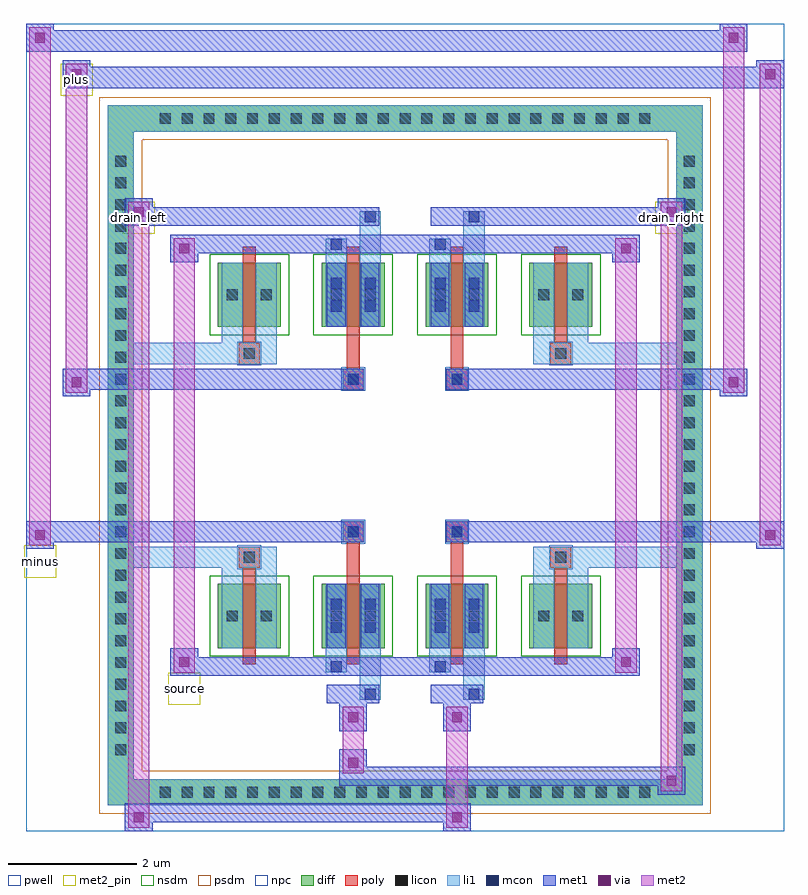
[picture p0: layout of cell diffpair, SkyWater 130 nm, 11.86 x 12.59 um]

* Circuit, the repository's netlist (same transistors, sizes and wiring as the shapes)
* NGSPICE file created from diffpair.ext - technology: sky130A

.subckt diffpair minus drain_right drain_left source plus
X0 drain_right minus source a_n928_n1092# sky130_fd_pr__nfet_01v8 ad=0.39 pd=2.78 as=0.39 ps=2.78 w=1 l=0.2
X1 a_n928_n1092# a_n928_n1092# a_n928_n1092# a_n928_n1092# sky130_fd_pr__nfet_01v8 ad=0.39 pd=2.78 as=3.12 ps=22.24 w=1 l=0.2
X2 a_n928_n1092# a_n928_n1092# a_n928_n1092# a_n928_n1092# sky130_fd_pr__nfet_01v8 ad=0.39 pd=2.78 as=0 ps=0 w=1 l=0.2
X3 a_n928_n1092# a_n928_n1092# a_n928_n1092# a_n928_n1092# sky130_fd_pr__nfet_01v8 ad=0.39 pd=2.78 as=0 ps=0 w=1 l=0.2
X4 a_n928_n1092# a_n928_n1092# a_n928_n1092# a_n928_n1092# sky130_fd_pr__nfet_01v8 ad=0.39 pd=2.78 as=0 ps=0 w=1 l=0.2
X5 drain_left plus source a_n928_n1092# sky130_fd_pr__nfet_01v8 ad=0.39 pd=2.78 as=0.39 ps=2.78 w=1 l=0.2
X6 drain_right minus source a_n928_n1092# sky130_fd_pr__nfet_01v8 ad=0.39 pd=2.78 as=0.39 ps=2.78 w=1 l=0.2
X7 drain_left plus source a_n928_n1092# sky130_fd_pr__nfet_01v8 ad=0.39 pd=2.78 as=0.39 ps=2.78 w=1 l=0.2
.ends

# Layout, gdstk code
import gdstk
lib = gdstk.Library(unit=1e-6, precision=5e-09)
def R(c, l, rs):  # rectangles x0, y0, x1, y1
    for r in rs: c.add(gdstk.rectangle(r[:2], r[2:], *l))
def A(c, l, x, y, w, h, nx, ny, dx, dy):  # array of equal rectangles
    R(c, l, [(x+i*dx, y+j*dy, x+i*dx+w, y+j*dy+h) for i in range(nx) for j in range(ny)])
def P(c, l, *ps):  # polygons
    for p in ps: c.add(gdstk.Polygon(p, *l))
pwell = (64, 44)
diff = (65, 20)
poly = (66, 20)
licon = (66, 44)
li1 = (67, 20)
mcon = (67, 44)
met1 = (68, 20)
via = (68, 44)
met2_pin = (69, 16)
met2 = (69, 20)
nsdm = (93, 44)
psdm = (94, 20)
npc = (95, 20)

diffpair = lib.new_cell('diffpair')
R(diffpair, pwell, [(-5.91,-5.86,5.91,6.73), (-3.23,-4.05,-0.01,-0.825), (0.01,-4.05,3.23,-0.825), (-3.23,0.825,-0.01,4.05), (0.01,0.825,3.23,4.05)])
A(diffpair, diff, -3.945, -5.46, 0.41, 0.41, 23, 2, 0.34, 10.51)
A(diffpair, diff, -4.64, -4.795, 0.41, 0.41, 1, 28, 0, 0.34)
A(diffpair, diff, 4.23, -4.795, 0.41, 0.41, 1, 28, 0, 0.34)
A(diffpair, diff, -2.92, -3.005, 0.98, 1, 4, 2, 1.62, 5.01)
R(diffpair, diff, [(-3.945,-5.46,3.945,-5.05), (-4.64,-4.795,-4.23,4.795), (4.23,-4.795,4.64,4.795), (-3.945,5.05,3.945,5.46)])
P(diffpair, diff, [(4.64,5.46),(-4.64,5.46),(-4.64,-5.05),(-4.23,-5.05),(-4.23,5.05),(4.23,5.05),(4.23,-5.05),(-4.23,-5.05),(-4.64,-5.05),(-4.64,-5.46),(4.64,-5.46)])
A(diffpair, poly, -2.53, -3.255, 0.2, 1.5, 4, 2, 1.62, 5.01)
R(diffpair, poly, [(-2.595,-1.755,-2.265,-1.425), (-2.595,-1.755,-2.265,-1.425), (-0.91,-1.755,-0.71,-1.355), (0.71,-1.755,0.91,-1.355), (2.265,-1.755,2.595,-1.425), (2.265,-1.755,2.595,-1.425), (-0.975,-1.355,-0.645,-1.025), (-0.975,-1.355,-0.645,-1.025), (0.645,-1.355,0.975,-1.025), (0.645,-1.355,0.975,-1.025), (-0.975,1.025,-0.645,1.355), (-0.975,1.025,-0.645,1.355), (0.645,1.025,0.975,1.355), (0.645,1.025,0.975,1.355), (-0.91,1.355,-0.71,1.755), (0.71,1.355,0.91,1.755), (-2.595,1.425,-2.265,1.755), (-2.595,1.425,-2.265,1.755), (2.265,1.425,2.595,1.755), (2.265,1.425,2.595,1.755)])
A(diffpair, licon, -3.825, -5.34, 0.17, 0.17, 23, 2, 0.34, 10.51)
A(diffpair, licon, -4.52, -4.675, 0.17, 0.17, 1, 28, 0, 0.34)
A(diffpair, licon, 4.35, -4.675, 0.17, 0.17, 1, 28, 0, 0.34)
R(diffpair, licon, [(-2.78,-2.59,-2.61,-2.42), (-2.25,-2.59,-2.08,-2.42), (-1.16,-2.59,-0.99,-2.42), (-0.63,-2.59,-0.46,-2.42), (0.46,-2.59,0.63,-2.42), (0.99,-2.59,1.16,-2.42), (2.08,-2.59,2.25,-2.42), (2.61,-2.59,2.78,-2.42), (-2.515,-1.675,-2.345,-1.505), (2.345,-1.675,2.515,-1.505), (-0.895,-1.275,-0.725,-1.105), (0.725,-1.275,0.895,-1.105), (-0.895,1.105,-0.725,1.275), (0.725,1.105,0.895,1.275), (-2.515,1.505,-2.345,1.675), (2.345,1.505,2.515,1.675), (-2.78,2.42,-2.61,2.59), (-2.25,2.42,-2.08,2.59), (-1.16,2.42,-0.99,2.59), (-0.63,2.42,-0.46,2.59), (0.46,2.42,0.63,2.59), (0.99,2.42,1.16,2.59), (2.08,2.42,2.25,2.59), (2.61,2.42,2.78,2.59)])
A(diffpair, li1, -3.905, -5.42, 0.33, 0.33, 23, 2, 0.34, 10.51)
A(diffpair, li1, -4.6, -4.755, 0.33, 0.33, 1, 28, 0, 0.34)
A(diffpair, li1, 4.27, -4.755, 0.33, 0.33, 1, 28, 0, 0.34)
R(diffpair, li1, [(-4.64,-5.46,-4.23,-5.05), (-4.64,-5.46,-4.23,-5.05), (-4.23,-5.46,4.23,-5.05), (4.23,-5.46,4.64,-5.05), (4.23,-5.46,4.64,-5.05), (-4.64,-5.05,-4.23,5.05), (4.23,-5.05,4.64,5.05), (-0.71,-3.81,-0.38,-3.005), (-0.63,-3.81,-0.46,-3.64), (0.91,-3.81,1.24,-3.005), (0.99,-3.81,1.16,-3.64), (-1.24,-3.38,-0.91,-3.005), (-1.16,-3.38,-0.99,-3.21), (0.38,-3.38,0.71,-3.005), (0.46,-3.38,0.63,-3.21), (-2.86,-3.005,-2.53,-2.005), (-2.33,-3.005,-2,-2.005), (-1.24,-3.005,-0.91,-2.005), (-0.71,-3.005,-0.38,-2.005), (0.38,-3.005,0.71,-2.005), (0.91,-3.005,1.24,-2.005), (2,-3.005,2.33,-2.005), (2.53,-3.005,2.86,-2.005), (-1.16,-2.77,-0.99,-2.6), (-1.16,-2.77,-0.99,-2.24), (-0.63,-2.77,-0.46,-2.6), (-0.63,-2.77,-0.46,-2.24), (0.46,-2.77,0.63,-2.6), (0.46,-2.77,0.63,-2.24), (0.99,-2.77,1.16,-2.6), (0.99,-2.77,1.16,-2.24), (-2.86,-2.67,-2.53,-2.34), (-2.33,-2.67,-2,-2.34), (-1.24,-2.67,-0.91,-2.34), (-0.71,-2.67,-0.38,-2.34), (0.38,-2.67,0.71,-2.34), (0.91,-2.67,1.24,-2.34), (2,-2.67,2.33,-2.34), (2.53,-2.67,2.86,-2.34), (-1.16,-2.41,-0.99,-2.24), (-0.63,-2.41,-0.46,-2.24), (0.46,-2.41,0.63,-2.24), (0.99,-2.41,1.16,-2.24), (-2.86,-2.005,-2.53,-1.425), (-2.33,-2.005,-2,-1.425), (2,-2.005,2.33,-1.425), (2.53,-2.005,2.86,-1.425), (-4.64,-1.755,-2.595,-1.425), (-2.86,-1.755,-2.595,-1.425), (-2.595,-1.755,-2.265,-1.425), (-2.265,-1.755,-2,-1.425), (2,-1.755,2.265,-1.425), (2.265,-1.755,2.595,-1.425), (2.265,-1.755,4.64,-1.425), (2.595,-1.755,2.86,-1.425), (-0.975,-1.355,-0.645,-1.025), (0.645,-1.355,0.975,-1.025), (-0.975,1.025,-0.645,1.355), (0.645,1.025,0.975,1.355), (-4.64,1.425,-2.595,1.755), (-2.86,1.425,-2.595,1.755), (-2.86,1.425,-2.53,2.005), (-2.595,1.425,-2.265,1.755), (-2.33,1.425,-2,2.005), (-2.265,1.425,-2,1.755), (2,1.425,2.265,1.755), (2,1.425,2.33,2.005), (2.265,1.425,2.595,1.755), (2.265,1.425,4.64,1.755), (2.53,1.425,2.86,2.005), (2.595,1.425,2.86,1.755), (-2.86,2.005,-2.53,3.005), (-2.33,2.005,-2,3.005), (-1.24,2.005,-0.91,3.005), (-0.71,2.005,-0.38,3.005), (0.38,2.005,0.71,3.005), (0.91,2.005,1.24,3.005), (2,2.005,2.33,3.005), (2.53,2.005,2.86,3.005), (-1.16,2.24,-0.99,2.41), (-1.16,2.24,-0.99,2.77), (-0.63,2.24,-0.46,2.41), (-0.63,2.24,-0.46,2.77), (0.46,2.24,0.63,2.41), (0.46,2.24,0.63,2.77), (0.99,2.24,1.16,2.41), (0.99,2.24,1.16,2.77), (-2.86,2.34,-2.53,2.67), (-2.33,2.34,-2,2.67), (-1.24,2.34,-0.91,2.67), (-0.71,2.34,-0.38,2.67), (0.38,2.34,0.71,2.67), (0.91,2.34,1.24,2.67), (2,2.34,2.33,2.67), (2.53,2.34,2.86,2.67), (-1.16,2.6,-0.99,2.77), (-0.63,2.6,-0.46,2.77), (0.46,2.6,0.63,2.77), (0.99,2.6,1.16,2.77), (-1.24,3.005,-0.91,3.38), (-0.71,3.005,-0.38,3.81), (0.38,3.005,0.71,3.38), (0.91,3.005,1.24,3.81), (-1.16,3.21,-0.99,3.38), (0.46,3.21,0.63,3.38), (-0.63,3.64,-0.46,3.81), (0.99,3.64,1.16,3.81), (-4.64,5.05,-4.23,5.46), (-4.64,5.05,-4.23,5.46), (-4.23,5.05,4.23,5.46), (4.23,5.05,4.64,5.46), (4.23,5.05,4.64,5.46)])
R(diffpair, mcon, [(-0.63,-3.81,-0.46,-3.64), (0.99,-3.81,1.16,-3.64), (-1.16,-3.38,-0.99,-3.21), (0.46,-3.38,0.63,-3.21), (-1.16,-2.77,-0.99,-2.6), (-0.63,-2.77,-0.46,-2.6), (0.46,-2.77,0.63,-2.6), (0.99,-2.77,1.16,-2.6), (-1.16,-2.41,-0.99,-2.24), (-0.63,-2.41,-0.46,-2.24), (0.46,-2.41,0.63,-2.24), (0.99,-2.41,1.16,-2.24), (-0.895,-1.275,-0.725,-1.105), (0.725,-1.275,0.895,-1.105), (-0.895,1.105,-0.725,1.275), (0.725,1.105,0.895,1.275), (-1.16,2.24,-0.99,2.41), (-0.63,2.24,-0.46,2.41), (0.46,2.24,0.63,2.41), (0.99,2.24,1.16,2.41), (-1.16,2.6,-0.99,2.77), (-0.63,2.6,-0.46,2.77), (0.46,2.6,0.63,2.77), (0.99,2.6,1.16,2.77), (-1.16,3.21,-0.99,3.38), (0.46,3.21,0.63,3.38), (-0.63,3.64,-0.46,3.81), (0.99,3.64,1.16,3.81)])
R(diffpair, met1, [(-4.37,-5.86,-3.94,-5.43), (0.595,-5.86,1.025,-5.43), (-4.37,-5.72,1.025,-5.43), (3.94,-5.29,4.37,-4.86), (-1.025,-5.15,4.37,-4.86), (-1.025,-5.01,-0.595,-4.58), (-1.025,-4.3,-0.595,-3.87), (0.595,-4.3,1.025,-3.87), (-1.22,-3.87,-0.4,-3.58), (-0.69,-3.87,-0.4,-3.58), (0.4,-3.87,1.22,-3.58), (0.93,-3.87,1.22,-3.58), (-3.66,-3.44,-3.23,-3.01), (-3.66,-3.44,-1.22,-3.15), (-1.22,-3.44,-0.93,-3.15), (-1.22,-3.44,-0.4,-3.15), (-0.4,-3.44,0.4,-3.15), (0.4,-3.44,0.69,-3.15), (0.4,-3.44,1.22,-3.15), (1.22,-3.44,3.66,-3.15), (3.23,-3.44,3.66,-3.01), (-1.22,-3.005,-0.93,-2.005), (-0.69,-3.005,-0.4,-2.005), (0.4,-3.005,0.69,-2.005), (0.93,-3.005,1.22,-2.005), (-1.22,-2.83,-0.93,-2.54), (-0.69,-2.83,-0.4,-2.54), (0.4,-2.83,0.69,-2.54), (0.93,-2.83,1.22,-2.54), (-1.22,-2.47,-0.93,-2.18), (-0.69,-2.47,-0.4,-2.18), (0.4,-2.47,0.69,-2.18), (0.93,-2.47,1.22,-2.18), (-5.91,-1.455,-5.48,-1.025), (5.48,-1.455,5.91,-1.025), (-5.91,-1.355,-0.645,-1.025), (-0.975,-1.355,-0.645,-1.025), (0.645,-1.355,0.975,-1.025), (0.645,-1.355,5.91,-1.025), (-0.955,-1.335,-0.665,-1.045), (0.665,-1.335,0.955,-1.045), (-5.34,0.925,-4.91,1.355), (4.91,0.925,5.34,1.355), (-5.34,1.025,-0.975,1.355), (-0.975,1.025,-0.645,1.355), (0.645,1.025,0.975,1.355), (0.975,1.025,5.34,1.355), (-0.955,1.045,-0.665,1.335), (0.665,1.045,0.955,1.335), (-1.22,2.005,-0.93,3.005), (-0.69,2.005,-0.4,3.005), (0.4,2.005,0.69,3.005), (0.93,2.005,1.22,3.005), (-1.22,2.18,-0.93,2.47), (-0.69,2.18,-0.4,2.47), (0.4,2.18,0.69,2.47), (0.93,2.18,1.22,2.47), (-1.22,2.54,-0.93,2.83), (-0.69,2.54,-0.4,2.83), (0.4,2.54,0.69,2.83), (0.93,2.54,1.22,2.83), (-3.66,3.01,-3.23,3.44), (3.23,3.01,3.66,3.44), (-3.66,3.15,-1.22,3.44), (-1.22,3.15,-0.93,3.44), (-1.22,3.15,-0.4,3.44), (-0.4,3.15,0.4,3.44), (0.4,3.15,0.69,3.44), (0.4,3.15,1.22,3.44), (1.22,3.15,3.66,3.44), (-4.37,3.58,-3.94,4.01), (-4.37,3.58,-1.22,3.87), (-1.22,3.58,-0.4,3.87), (-0.69,3.58,-0.4,3.87), (0.4,3.58,1.22,3.87), (0.93,3.58,1.22,3.87), (1.22,3.58,4.37,3.87), (3.94,3.58,4.37,4.01), (-5.34,5.73,-4.91,6.16), (-5.34,5.73,-3.23,6.06), (-3.23,5.73,3.23,6.06), (3.23,5.73,5.91,6.06), (5.48,5.73,5.91,6.16), (-5.91,6.3,-5.48,6.73), (-5.91,6.3,-3.23,6.63), (-3.23,6.3,3.23,6.63), (3.23,6.3,5.34,6.63), (4.91,6.3,5.34,6.73)])
R(diffpair, via, [(-4.23,-5.72,-4.08,-5.57), (0.735,-5.72,0.885,-5.57), (4.08,-5.15,4.23,-5), (-0.885,-4.87,-0.735,-4.72), (-0.885,-4.16,-0.735,-4.01), (0.735,-4.16,0.885,-4.01), (-3.52,-3.3,-3.37,-3.15), (3.37,-3.3,3.52,-3.15), (-5.77,-1.315,-5.62,-1.165), (5.62,-1.315,5.77,-1.165), (-5.2,1.065,-5.05,1.215), (5.05,1.065,5.2,1.215), (-3.52,3.15,-3.37,3.3), (3.37,3.15,3.52,3.3), (-4.23,3.72,-4.08,3.87), (4.08,3.72,4.23,3.87), (-5.2,5.87,-5.05,6.02), (5.62,5.87,5.77,6.02), (-5.77,6.44,-5.62,6.59), (5.05,6.44,5.2,6.59)])
R(diffpair, met2_pin, [(-3.695,-3.89,-3.195,-3.39), (-5.945,-1.905,-5.445,-1.405), (-4.405,3.46,-3.905,3.96), (3.905,3.46,4.405,3.96), (-5.375,5.61,-4.875,6.11)])
R(diffpair, met2, [(-4.32,-5.81,-3.99,-5.48), (-4.32,-5.81,-3.99,3.96), (0.645,-5.81,0.975,-5.48), (0.645,-5.48,0.975,-4.25), (3.99,-5.24,4.32,-4.91), (3.99,-5.24,4.32,3.96), (-0.975,-4.96,-0.645,-4.63), (-0.975,-4.63,-0.645,-4.25), (-0.975,-4.25,-0.645,-3.92), (0.645,-4.25,0.975,-3.92), (-3.61,-3.39,-3.28,-3.06), (-3.61,-3.39,-3.28,3.39), (3.28,-3.39,3.61,-3.06), (3.28,-3.39,3.61,3.39), (-5.86,-1.405,-5.53,-1.075), (-5.86,-1.405,-5.53,6.68), (5.53,-1.405,5.86,-1.075), (5.53,-1.405,5.86,6.11), (-5.29,0.975,-4.96,1.305), (-5.29,0.975,-4.96,6.11), (4.96,0.975,5.29,1.305), (4.96,0.975,5.29,6.68), (-3.61,3.06,-3.28,3.39), (3.28,3.06,3.61,3.39), (-4.32,3.63,-3.99,3.96), (3.99,3.63,4.32,3.96), (-5.29,5.78,-4.96,6.11), (5.53,5.78,5.86,6.11), (-5.86,6.35,-5.53,6.68), (4.96,6.35,5.29,6.68)])
P(diffpair, met2, [(5.86,-1.405),(5.86,-1.405),(5.86,-1.075),(5.86,-1.075)],
  [(5.86,5.78),(5.86,5.78),(5.86,6.11),(5.86,6.11)],
  [(-5.53,-1.405),(-5.53,-1.405),(-5.53,-1.075),(-5.53,-1.075)],
  [(-5.53,6.35),(-5.53,6.35),(-5.53,6.68),(-5.53,6.68)],
  [(5.29,0.975),(5.29,0.975),(5.29,1.305),(5.29,1.305)],
  [(5.29,6.35),(5.29,6.35),(5.29,6.68),(5.29,6.68)],
  [(-4.96,0.975),(-4.96,0.975),(-4.96,1.305),(-4.96,1.305)],
  [(-4.96,5.78),(-4.96,5.78),(-4.96,6.11),(-4.96,6.11)],
  [(-3.99,-5.81),(-3.99,-5.81),(-3.99,-5.48),(-3.99,-5.48)],
  [(-3.99,3.63),(-3.99,3.63),(-3.99,3.96),(-3.99,3.96)],
  [(4.32,-5.24),(4.32,-5.24),(4.32,-4.91),(4.32,-4.91)],
  [(4.32,3.63),(4.32,3.63),(4.32,3.96),(4.32,3.96)],
  [(-3.28,-3.39),(-3.28,-3.39),(-3.28,-3.06),(-3.28,-3.06)],
  [(-3.28,3.06),(-3.28,3.06),(-3.28,3.39),(-3.28,3.39)],
  [(3.61,-3.39),(3.61,-3.39),(3.61,-3.06),(3.61,-3.06)],
  [(3.61,3.06),(3.61,3.06),(3.61,3.39),(3.61,3.39)])
A(diffpair, nsdm, -3.05, -3.135, 1.24, 1.26, 4, 2, 1.62, 5.01)
P(diffpair, psdm, [(4.77,5.59),(-4.77,5.59),(-4.77,-4.92),(-4.1,-4.92),(-4.1,4.92),(4.1,4.92),(4.1,-4.92),(-4.1,-4.92),(-4.77,-4.92),(-4.77,-5.59),(4.77,-5.59)])
R(diffpair, npc, [(-2.615,-1.775,-2.245,-1.405), (2.245,-1.775,2.615,-1.405), (-0.995,-1.375,-0.625,-1.005), (0.625,-1.375,0.995,-1.005), (-0.995,1.005,-0.625,1.375), (0.625,1.005,0.995,1.375), (-2.615,1.405,-2.245,1.775), (2.245,1.405,2.615,1.775)])
diffpair.add(gdstk.Label('minus', (-5.695,-1.655), layer=69, texttype=5))
diffpair.add(gdstk.Label('drain_right', (4.155,3.71), layer=69, texttype=5))
diffpair.add(gdstk.Label('drain_left', (-4.155,3.71), layer=69, texttype=5))
diffpair.add(gdstk.Label('source', (-3.445,-3.64), layer=69, texttype=5))
diffpair.add(gdstk.Label('plus', (-5.125,5.86), layer=69, texttype=5))

lib.write_gds('diffpair.gds')
